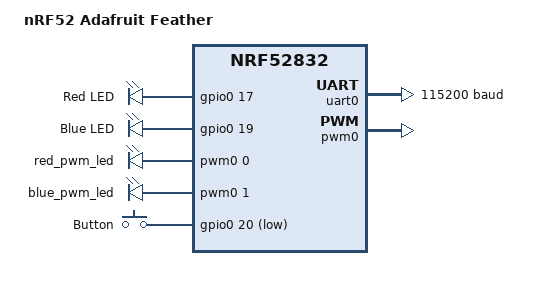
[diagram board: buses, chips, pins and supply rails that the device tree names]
/*
 * Copyright (c) 2018 LEDCity AG
 * Copyright (c) 2017 Linaro Limited
 *
 * SPDX-License-Identifier: Apache-2.0
 */

/dts-v1/;
#include <nordic/nrf52832_qfaa.dtsi>
#include "feather_connector.dtsi"
#include "nrf52_adafruit_feather-pinctrl.dtsi"
#include <zephyr/dt-bindings/input/input-event-codes.h>

/ {
	model = "nRF52 Adafruit Feather";
	compatible = "adafruit,nrf52_adafruit_feather";

	aliases {
		pwm-led0 = &red_pwm_led;
	};

	chosen {
		zephyr,console = &uart0;
		zephyr,shell-uart = &uart0;
		zephyr,uart-mcumgr = &uart0;
		zephyr,bt-mon-uart = &uart0;
		zephyr,bt-c2h-uart = &uart0;
		zephyr,sram = &sram0;
		zephyr,flash = &flash0;
		zephyr,code-partition = &slot0_partition;
	};

	/* These aliases are provided for compatibility with samples */
	aliases {
		led0 = &led0;
		led1 = &led1;
		sw0 = &button0;
		watchdog0 = &wdt0;
	};

	leds {
		compatible = "gpio-leds";
		led0: led_0 {
			gpios = <&gpio0 17 0>;
			label = "Red LED";
		};
		led1: led_1 {
			gpios = <&gpio0 19 0>;
			label = "Blue LED";
		};
	};

	pwmleds {
		compatible = "pwm-leds";
		red_pwm_led: pwm_led_0 {
			pwms = <&pwm0 0 PWM_MSEC(20) PWM_POLARITY_NORMAL>;
		};
		blue_pwm_led: pwm_led_1 {
			pwms = <&pwm0 1 PWM_MSEC(20) PWM_POLARITY_NORMAL>;
		};
	};

	buttons {
		compatible = "gpio-keys";
		button0: button_0 {
			gpios = <&gpio0 20 (GPIO_PULL_UP | GPIO_ACTIVE_LOW)>;
			label = "Button";
			zephyr,code = <INPUT_KEY_0>;
		};
	};
};

&reg {
	regulator-initial-mode = <NRF5X_REG_MODE_DCDC>;
};

&uicr {
	gpio-as-nreset;
};

&gpiote {
	status = "okay";
};

&gpio0 {
	status = "okay";
};

&uart0 {
	compatible = "nordic,nrf-uart";
	current-speed = <115200>;
	status = "okay";
	pinctrl-0 = <&uart0_default>;
	pinctrl-1 = <&uart0_sleep>;
	pinctrl-names = "default", "sleep";
};

&i2c0 {
	compatible = "nordic,nrf-twi";
	pinctrl-0 = <&i2c0_default>;
	pinctrl-1 = <&i2c0_sleep>;
	pinctrl-names = "default", "sleep";
};

&flash0 {

	partitions {
		compatible = "fixed-partitions";
		#address-cells = <1>;
		#size-cells = <1>;

		boot_partition: partition@0 {
			label = "mcuboot";
			reg = <0x00000000 0xc000>;
		};
		slot0_partition: partition@c000 {
			label = "image-0";
			reg = <0x0000C000 0x32000>;
		};
		slot1_partition: partition@3e000 {
			label = "image-1";
			reg = <0x0003E000 0x32000>;
		};
		scratch_partition: partition@70000 {
			label = "image-scratch";
			reg = <0x00070000 0xa000>;
		};
		storage_partition: partition@7a000 {
			label = "storage";
			reg = <0x0007a000 0x00006000>;
		};
	};
};

&pwm0 {
	status = "okay";
	pinctrl-0 = <&pwm0_default>;
	pinctrl-1 = <&pwm0_sleep>;
	pinctrl-names = "default", "sleep";
};
